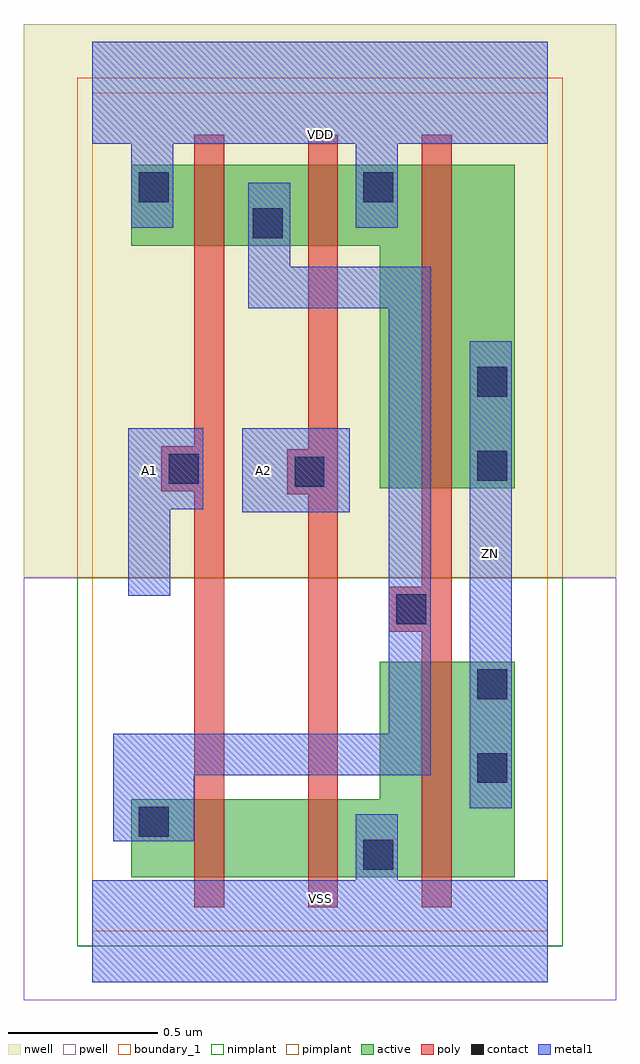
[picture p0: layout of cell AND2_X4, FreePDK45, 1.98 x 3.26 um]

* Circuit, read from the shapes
.subckt AND2_X4 A1 A2 VDD VSS ZN
M1 n1 A1 n2 VSUBS nfet w=0.26u l=0.1u
M2 VSS A2 n1 VSUBS nfet w=0.26u l=0.1u
M3 ZN n2 VSS VSUBS nfet w=0.72u l=0.1u
M4 n2 A1 VDD n3 pfet w=0.27u l=0.1u
M5 VDD A2 n2 n3 pfet w=0.27u l=0.1u
M6 ZN n2 VDD n3 pfet w=1.08u l=0.1u
.ends

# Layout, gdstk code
import gdstk
lib = gdstk.Library(unit=1e-6, precision=1e-09)
def R(c, l, rs):  # rectangles x0, y0, x1, y1
    for r in rs: c.add(gdstk.rectangle(r[:2], r[2:], *l))
def P(c, l, *ps):  # polygons
    for p in ps: c.add(gdstk.Polygon(p, *l))
active = (1, 0)
pwell = (2, 0)
nwell = (3, 0)
nimplant = (4, 0)
pimplant = (5, 0)
poly = (9, 0)
contact = (10, 0)
metal1 = (11, 0)
boundary_1 = (235, 1)

and2_x4 = lib.new_cell('AND2_X4')
P(and2_x4, active, [(0.13,2.29),(0.96,2.29),(0.96,1.48),(1.41,1.48),(1.41,2.56),(0.13,2.56)],
  [(0.13,0.18),(1.41,0.18),(1.41,0.9),(0.96,0.9),(0.96,0.44),(0.13,0.44)])
R(and2_x4, pwell, [(-0.23,-0.23,1.75,1.18)])
R(and2_x4, nwell, [(-0.23,1.18,1.75,3.03)])
R(and2_x4, nimplant, [(-0.05,-0.05,1.57,1.18)])
R(and2_x4, pimplant, [(-0.05,1.18,1.57,2.85)])
P(and2_x4, poly, [(0.99,1),(1.1,1),(1.1,0.08),(1.2,0.08),(1.2,2.66),(1.1,2.66),(1.1,1.15),(0.99,1.15)],
  [(0.65,1.46),(0.72,1.46),(0.72,0.08),(0.82,0.08),(0.82,2.66),(0.72,2.66),(0.72,1.61),(0.65,1.61)],
  [(0.23,1.47),(0.34,1.47),(0.34,0.08),(0.44,0.08),(0.44,2.66),(0.34,2.66),(0.34,1.62),(0.23,1.62)])
R(and2_x4, contact, [(0.905,0.205,1.005,0.305), (0.155,0.315,0.255,0.415), (1.285,0.495,1.385,0.595), (1.285,0.775,1.385,0.875), (1.015,1.025,1.115,1.125), (0.675,1.485,0.775,1.585), (0.255,1.495,0.355,1.595), (1.285,1.505,1.385,1.605), (1.285,1.785,1.385,1.885), (0.535,2.315,0.635,2.415), (0.155,2.435,0.255,2.535), (0.905,2.435,1.005,2.535)])
R(and2_x4, metal1, [(1.26,0.41,1.4,1.97), (1.26,0.41,1.4,1.97), (0.5,1.4,0.86,1.68), (0.5,1.4,0.86,1.68)])
P(and2_x4, metal1, [(0,-0.17),(1.52,-0.17),(1.52,0.17),(1.02,0.17),(1.02,0.39),(0.88,0.39),(0.88,0.17),(0,0.17)],
  [(0.12,1.12),(0.26,1.12),(0.26,1.41),(0.37,1.41),(0.37,1.68),(0.12,1.68)],
  [(0,2.63),(0.13,2.63),(0.13,2.35),(0.27,2.35),(0.27,2.63),(0.88,2.63),(0.88,2.35),(1.02,2.35),(1.02,2.63),(1.52,2.63),(1.52,2.97),(0,2.97)],
  [(0,2.63),(0.13,2.63),(0.13,2.35),(0.27,2.35),(0.27,2.63),(0.88,2.63),(0.88,2.35),(1.02,2.35),(1.02,2.63),(1.52,2.63),(1.52,2.97),(0,2.97)],
  [(0,-0.17),(1.52,-0.17),(1.52,0.17),(1.02,0.17),(1.02,0.39),(0.88,0.39),(0.88,0.17),(0,0.17)],
  [(0.52,2.08),(0.99,2.08),(0.99,0.66),(0.07,0.66),(0.07,0.3),(0.34,0.3),(0.34,0.52),(1.13,0.52),(1.13,2.22),(0.66,2.22),(0.66,2.5),(0.52,2.5)],
  [(0.12,1.12),(0.26,1.12),(0.26,1.41),(0.37,1.41),(0.37,1.68),(0.12,1.68)])
R(and2_x4, boundary_1, [(0,0,1.52,2.8)])
and2_x4.add(gdstk.Label('ZN', (1.33,1.26), layer=11, texttype=0))
and2_x4.add(gdstk.Label('VSS', (0.76,0.11), layer=11, texttype=0))
and2_x4.add(gdstk.Label('VDD', (0.76,2.66), layer=11, texttype=0))
and2_x4.add(gdstk.Label('A2', (0.57,1.54), layer=11, texttype=0))
and2_x4.add(gdstk.Label('A1', (0.19,1.54), layer=11, texttype=0))

lib.write_gds('AND2_X4.gds')
